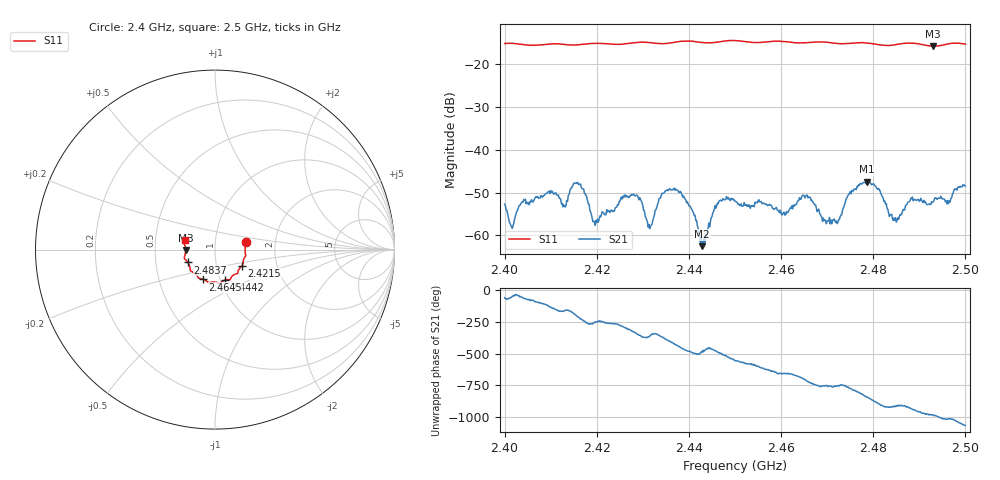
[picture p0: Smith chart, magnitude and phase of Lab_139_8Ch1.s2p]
# Hz S RI R 50
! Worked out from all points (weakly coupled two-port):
!   601 points, 2.4 GHz to 2.5 GHz, reference 50 ohm
!   highest |S21| = -47.45 dB at 2.4787 GHz (marker M1); lowest = -62.5 dB at 2.4428 GHz (marker M2)
!   lowest |S11| = -15.7 dB at 2.493 GHz (marker M3), VSWR 1.39, Z = 35.9 - j0.205 ohm
!   |S11| at or under -10 dB: start of sweep to end of sweep
!   S12 and S22 are empty: the file has one direction only
!   S11 on the Smith chart (normalised r, x): 2.4 GHz: 1.41, +0.12; 2.4215 GHz: 1.33, -0.25; 2.4442 GHz: 1.05, -0.37; 2.4645 GHz: 0.83, -0.29; 2.4837 GHz: 0.73, -0.11; 2.5 GHz: 0.71, +0.08
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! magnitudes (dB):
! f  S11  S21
! 2.4 GHz  -15.1  -52.7
! 2.4015 GHz  -15.0  -57.9
! 2.404 GHz  -15.4  -52.2
! 2.4167 GHz  -15.3  -48.8
! 2.4195 GHz  -15.1  -56.7
! 2.4215 GHz  -15.1  -54.7
! 2.4283 GHz  -14.9  -50.8
! 2.4315 GHz  -14.9  -58.4
! 2.4333 GHz  -15.1  -52.3
! 2.4378 GHz  -14.6  -50.0
! 2.4428 GHz  -14.9  -62.5
! 2.4442 GHz  -15.0  -58.2
! 2.45 GHz  -14.4  -52.0
! 2.4605 GHz  -14.6  -54.7
! 2.4645 GHz  -15.0  -50.8
! 2.4667 GHz  -14.8  -51.8
! 2.4722 GHz  -15.1  -57.2
! 2.4787 GHz  -15.0  -47.5
! 2.4833 GHz  -15.6  -54.7
! 2.4837 GHz  -15.5  -55.2
! 2.493 GHz  -15.7  -52.1
! 2.5 GHz  -15.3  -48.5
